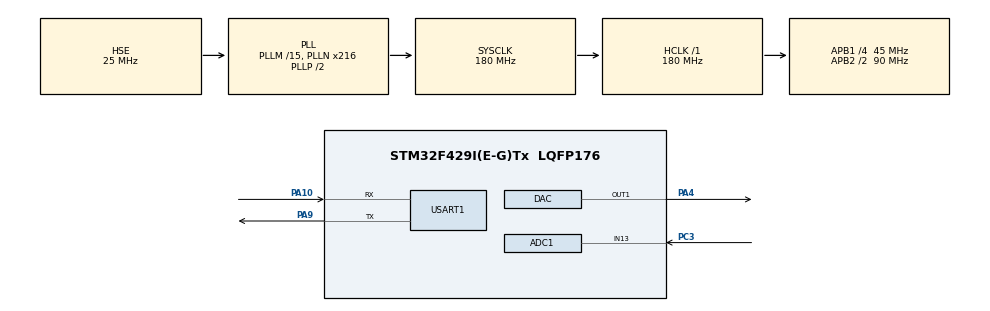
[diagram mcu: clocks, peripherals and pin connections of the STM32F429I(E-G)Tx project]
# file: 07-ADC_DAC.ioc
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ADC1.Channel-0\#ChannelRegularConversion=ADC_CHANNEL_13
ADC1.ContinuousConvMode=ENABLE
ADC1.DMAContinuousRequests=ENABLE
ADC1.NbrOfConversionFlag=1
ADC1.Rank-0\#ChannelRegularConversion=1
ADC1.SamplingTime-0\#ChannelRegularConversion=ADC_SAMPLETIME_56CYCLES
ADC1.master=1
DAC.DAC_Trigger=DAC_TRIGGER_T7_TRGO
Dma.ADC1.0.Direction=DMA_PERIPH_TO_MEMORY
Dma.ADC1.0.FIFOMode=DMA_FIFOMODE_ENABLE
Dma.ADC1.0.FIFOThreshold=DMA_FIFO_THRESHOLD_FULL
Dma.ADC1.0.Instance=DMA2_Stream0
Dma.ADC1.0.MemBurst=DMA_MBURST_INC8
Dma.ADC1.0.MemDataAlignment=DMA_MDATAALIGN_HALFWORD
Dma.ADC1.0.MemInc=DMA_MINC_ENABLE
Dma.ADC1.0.Mode=DMA_CIRCULAR
Dma.ADC1.0.PeriphBurst=DMA_PBURST_INC8
Dma.ADC1.0.PeriphDataAlignment=DMA_PDATAALIGN_HALFWORD
Dma.ADC1.0.PeriphInc=DMA_PINC_DISABLE
Dma.ADC1.0.Priority=DMA_PRIORITY_HIGH
Dma.DAC1.1.Direction=DMA_MEMORY_TO_PERIPH
Dma.DAC1.1.FIFOMode=DMA_FIFOMODE_DISABLE
Dma.DAC1.1.Instance=DMA1_Stream5
Dma.DAC1.1.MemDataAlignment=DMA_MDATAALIGN_HALFWORD
Dma.DAC1.1.MemInc=DMA_MINC_ENABLE
Dma.DAC1.1.Mode=DMA_CIRCULAR
Dma.DAC1.1.PeriphDataAlignment=DMA_PDATAALIGN_HALFWORD
Dma.DAC1.1.PeriphInc=DMA_PINC_DISABLE
Dma.DAC1.1.Priority=DMA_PRIORITY_HIGH
Dma.Request0=ADC1
Dma.Request1=DAC1
Dma.Request2=USART1_TX
Dma.USART1_TX.2.Direction=DMA_MEMORY_TO_PERIPH
Dma.USART1_TX.2.FIFOMode=DMA_FIFOMODE_DISABLE
Dma.USART1_TX.2.Instance=DMA2_Stream7
Dma.USART1_TX.2.MemDataAlignment=DMA_MDATAALIGN_BYTE
Dma.USART1_TX.2.MemInc=DMA_MINC_ENABLE
Dma.USART1_TX.2.Mode=DMA_NORMAL
Dma.USART1_TX.2.PeriphDataAlignment=DMA_PDATAALIGN_BYTE
Dma.USART1_TX.2.PeriphInc=DMA_PINC_DISABLE
Dma.USART1_TX.2.Priority=DMA_PRIORITY_LOW
Mcu.Family=STM32F4
Mcu.Name=STM32F429I(E-G)Tx
Mcu.Package=LQFP176
NVIC.DMA1_Stream5_IRQn=true\:0\:0\:false\:false\:true\:false\:true\:true
NVIC.DMA2_Stream0_IRQn=true\:0\:0\:false\:false\:true\:false\:true\:true
NVIC.DMA2_Stream7_IRQn=true\:0\:0\:false\:false\:true\:false\:true\:true
NVIC.PriorityGroup=NVIC_PRIORITYGROUP_4
NVIC.TIM6_DAC_IRQn=true\:1\:0\:true\:false\:true\:true\:true\:true
NVIC.TIM7_IRQn=true\:0\:0\:false\:false\:true\:true\:true\:true
NVIC.USART1_IRQn=true\:0\:0\:false\:false\:true\:true\:true\:true
PA10.Mode=Asynchronous
PA10.Signal=USART1_RX
PA4.Signal=COMP_DAC1_group
PA9.Mode=Asynchronous
PA9.Signal=USART1_TX
PC3.Signal=ADCx_IN13
PH0/OSC_IN.Mode=HSE-External-Oscillator
PH0/OSC_IN.Signal=RCC_OSC_IN
PH1/OSC_OUT.Mode=HSE-External-Oscillator
PH1/OSC_OUT.Signal=RCC_OSC_OUT
ProjectManager.HeapSize=0x200
ProjectManager.StackSize=0x400
ProjectManager.TargetToolchain=STM32CubeIDE
RCC.48MHZClocksFreq_Value=90000000
RCC.AHBFreq_Value=180000000
RCC.APB1CLKDivider=RCC_HCLK_DIV4
RCC.APB1Freq_Value=45000000
RCC.APB1TimFreq_Value=90000000
RCC.APB2CLKDivider=RCC_HCLK_DIV2
RCC.APB2Freq_Value=90000000
RCC.APB2TimFreq_Value=180000000
RCC.CortexFreq_Value=180000000
RCC.HCLKFreq_Value=180000000
RCC.HSE_VALUE=25000000
RCC.HSI_VALUE=16000000
RCC.LSE_VALUE=32768
RCC.PLLM=15
RCC.PLLN=216
RCC.PLLSourceVirtual=RCC_PLLSOURCE_HSE
RCC.SYSCLKFreq_VALUE=180000000
RCC.SYSCLKSource=RCC_SYSCLKSOURCE_PLLCLK
RCC.VCOOutputFreq_Value=360000000
SH.ADCx_IN13.0=ADC1_IN13,IN13
SH.COMP_DAC1_group.0=DAC_OUT1,DAC_OUT1
TIM6.AutoReloadPreload=TIM_AUTORELOAD_PRELOAD_ENABLE
TIM6.Period=1999
TIM6.Prescaler=8999
TIM7.Period=99
TIM7.Prescaler=17999
TIM7.TIM_MasterOutputTrigger=TIM_TRGO_UPDATE
USART1.VirtualMode=VM_ASYNC
VP_TIM6_VS_ClockSourceINT.Mode=Enable_Timer
VP_TIM7_VS_ClockSourceINT.Mode=Enable_Timer
board=custom

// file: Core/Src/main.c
/* USER CODE BEGIN Header */
/**
  ******************************************************************************
  * @file           : main.c
  * @brief          : Main program body
  ******************************************************************************
  * @attention
  *
  * Copyright (c) 2023 STMicroelectronics.
  * All rights reserved.
  *
  * This software is licensed under terms that can be found in the LICENSE file
  * in the root directory of this software component.
  * If no LICENSE file comes with this software, it is provided AS-IS.
  *
  ******************************************************************************
  */
/* USER CODE END Header */
#include "main.h"
#include "adc.h"
#include "dac.h"
#include "dma.h"
#include "tim.h"
#include "usart.h"
#include "gpio.h"

/* USER CODE BEGIN Includes */
#include "printf.h"
#include "buffer.h"
/* USER CODE END Includes */

/* USER CODE BEGIN PD */
#define DMA_BUFFER_SIZE 8
/* USER CODE END PD */

/* USER CODE BEGIN PV */
char tx_str[50];
// ADC1_IN13读数, 由DMA自动搬运
uint16_t adc1_data[DMA_BUFFER_SIZE*2];
uint16_t dac_data;

uint8_t flag_cpl1 = 0;
uint8_t flag_cpl2 = 0;
/* USER CODE END PV */

void SystemClock_Config(void);

/* USER CODE BEGIN 0 */
void HAL_TIM_PeriodElapsedCallback(TIM_HandleTypeDef *htim)
{
  if(htim == &htim6) {
    int len = sprintf(tx_str, "adc1 value: %04d, voltage: %.2f V", dac_data, 3.3*dac_data/4095);
    HAL_UART_Transmit_DMA(&huart1, (uint8_t *) tx_str, len); // 20256 B
//    HAL_UART_Transmit_IT(&huart1, (uint8_t *)"Hello, World!", 13); // 13260 B
  }
}

void HAL_UART_TxCpltCallback(UART_HandleTypeDef *huart)
{
  if (huart == &huart1) {
    if (!UART_Buffer_isEmpty(&TX_BUF)) { // 发送缓冲区非空
      DataBlocks_TypeDef *dblock = UART_Buffer_Pop(&TX_BUF);
      HAL_UART_Transmit_IT(&huart1, dblock->start, dblock->size);
    }
  }
}

void HAL_ADC_ConvHalfCpltCallback (ADC_HandleTypeDef * hadc)
{
  if (hadc == &hadc1) {
    flag_cpl1 = 1;
  }
}

void HAL_ADC_ConvCpltCallback (ADC_HandleTypeDef * hadc)
{
  if (hadc == &hadc1) {
    flag_cpl2 = 1;
  }
}
/* USER CODE END 0 */

int main(void)
{

  /* MCU Configuration--------------------------------------------------------*/

  /* Reset of all peripherals, Initializes the Flash interface and the Systick. */
  HAL_Init();

  /* Configure the system clock */
  SystemClock_Config();

  /* Initialize all configured peripherals */
  MX_GPIO_Init();
  MX_DMA_Init();
  MX_ADC1_Init();
  MX_USART1_UART_Init();
  MX_TIM6_Init();
  MX_DAC_Init();
  MX_TIM7_Init();
  /* USER CODE BEGIN 2 */
  // 启用Tim6及其中断和Tim7
  HAL_TIM_Base_Start_IT(&htim6);
  HAL_TIM_Base_Start_IT(&htim7);
  // HAL库中已经没有采样校准函数, HAL或许已经默认校准
  // 开启ADC的DMA模式
  HAL_ADC_Start_DMA(&hadc1, (uint32_t *)adc1_data, DMA_BUFFER_SIZE*2);
  // 开启DAC的DMA模式
  HAL_DAC_Start_DMA(&hdac, DAC_CHANNEL_1, (uint32_t *)&dac_data, 1, DAC_ALIGN_12B_R);
  /* USER CODE END 2 */

  /* Infinite loop */
  /* USER CODE BEGIN WHILE */
  while (1)
  {
    // 将DMA buffer拆分成两个部分模拟双缓冲, 不在中断回调函数中进行复杂处理
    if (flag_cpl1 || flag_cpl2 ) {
      int start, sum = 0; // 初始化变量
      if (flag_cpl1) start = 0;
      else start = DMA_BUFFER_SIZE;
      for (int i = 0; i < DMA_BUFFER_SIZE; i++)
        sum += adc1_data[start + i];
      dac_data = sum / DMA_BUFFER_SIZE;
      flag_cpl1 = flag_cpl2 = 0;
    }
    /* USER CODE END WHILE */

  }
}

void SystemClock_Config(void)
{
  RCC_OscInitTypeDef RCC_OscInitStruct = {0};
  RCC_ClkInitTypeDef RCC_ClkInitStruct = {0};

  /** Configure the main internal regulator output voltage
  */
  __HAL_RCC_PWR_CLK_ENABLE();
  __HAL_PWR_VOLTAGESCALING_CONFIG(PWR_REGULATOR_VOLTAGE_SCALE1);

  /** Initializes the RCC Oscillators according to the specified parameters
  * in the RCC_OscInitTypeDef structure.
  */
  RCC_OscInitStruct.OscillatorType = RCC_OSCILLATORTYPE_HSE;
  RCC_OscInitStruct.HSEState = RCC_HSE_ON;
  RCC_OscInitStruct.PLL.PLLState = RCC_PLL_ON;
  RCC_OscInitStruct.PLL.PLLSource = RCC_PLLSOURCE_HSE;
  RCC_OscInitStruct.PLL.PLLM = 15;
  RCC_OscInitStruct.PLL.PLLN = 216;
  RCC_OscInitStruct.PLL.PLLP = RCC_PLLP_DIV2;
  RCC_OscInitStruct.PLL.PLLQ = 4;
  if (HAL_RCC_OscConfig(&RCC_OscInitStruct) != HAL_OK)
  {
    Error_Handler();
  }

  /** Activate the Over-Drive mode
  */
  if (HAL_PWREx_EnableOverDrive() != HAL_OK)
  {
    Error_Handler();
  }

  /** Initializes the CPU, AHB and APB buses clocks
  */
  RCC_ClkInitStruct.ClockType = RCC_CLOCKTYPE_HCLK|RCC_CLOCKTYPE_SYSCLK
                              |RCC_CLOCKTYPE_PCLK1|RCC_CLOCKTYPE_PCLK2;
  RCC_ClkInitStruct.SYSCLKSource = RCC_SYSCLKSOURCE_PLLCLK;
  RCC_ClkInitStruct.AHBCLKDivider = RCC_SYSCLK_DIV1;
  RCC_ClkInitStruct.APB1CLKDivider = RCC_HCLK_DIV4;
  RCC_ClkInitStruct.APB2CLKDivider = RCC_HCLK_DIV2;

  if (HAL_RCC_ClockConfig(&RCC_ClkInitStruct, FLASH_LATENCY_5) != HAL_OK)
  {
    Error_Handler();
  }
}

void Error_Handler(void)
{
  __disable_irq();
  while (1)
  {
  }
}
